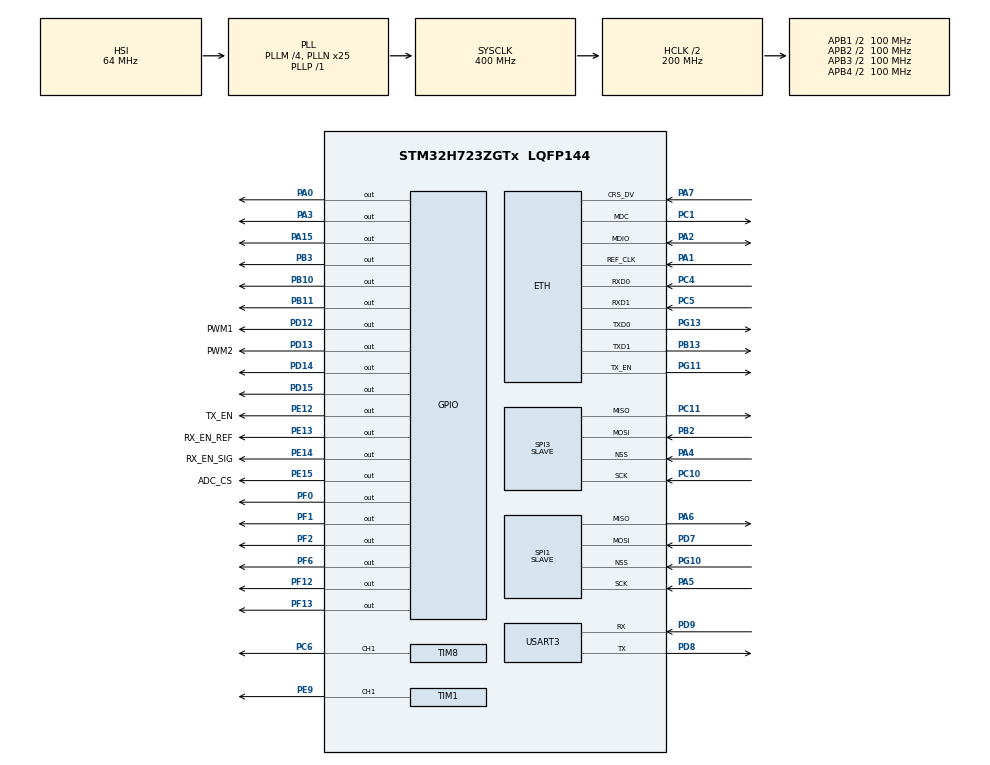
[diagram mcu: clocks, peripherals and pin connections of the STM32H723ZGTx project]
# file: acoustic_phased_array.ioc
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CORTEX_M7.AccessPermission_S-Cortex_Memory_Protection_Unit_Region1_Settings_S=MPU_REGION_FULL_ACCESS
CORTEX_M7.BaseAddress_S-Cortex_Memory_Protection_Unit_Region1_Settings_S=0x30000000
CORTEX_M7.CPU_DCache=Enabled
CORTEX_M7.CPU_ICache=Enabled
CORTEX_M7.DisableExec_S-Cortex_Memory_Protection_Unit_Region1_Settings_S=MPU_INSTRUCTION_ACCESS_DISABLE
CORTEX_M7.Enable_S-Cortex_Memory_Protection_Unit_Region1_Settings_S=MPU_REGION_ENABLE
CORTEX_M7.IsShareable_S-Cortex_Memory_Protection_Unit_Region1_Settings_S=MPU_ACCESS_SHAREABLE
CORTEX_M7.Size_S-Cortex_Memory_Protection_Unit_Region1_Settings_S=MPU_REGION_SIZE_32KB
CORTEX_M7.TypeExtField_S-Cortex_Memory_Protection_Unit_Region1_Settings_S=MPU_TEX_LEVEL1
CORTEX_M7.default_mode_Activation=1
Dma.Request0=SPI1_RX
Dma.Request1=SPI1_TX
Dma.Request2=SPI3_RX
Dma.Request3=SPI3_TX
Dma.SPI1_RX.0.Direction=DMA_PERIPH_TO_MEMORY
Dma.SPI1_RX.0.EventEnable=DISABLE
Dma.SPI1_RX.0.FIFOMode=DMA_FIFOMODE_DISABLE
Dma.SPI1_RX.0.Instance=DMA1_Stream0
Dma.SPI1_RX.0.MemDataAlignment=DMA_MDATAALIGN_WORD
Dma.SPI1_RX.0.MemInc=DMA_MINC_ENABLE
Dma.SPI1_RX.0.Mode=DMA_CIRCULAR
Dma.SPI1_RX.0.PeriphDataAlignment=DMA_PDATAALIGN_WORD
Dma.SPI1_RX.0.PeriphInc=DMA_PINC_DISABLE
Dma.SPI1_RX.0.Polarity=HAL_DMAMUX_REQ_GEN_RISING
Dma.SPI1_RX.0.Priority=DMA_PRIORITY_VERY_HIGH
Dma.SPI1_RX.0.RequestNumber=1
Dma.SPI1_RX.0.SignalID=NONE
Dma.SPI1_RX.0.SyncEnable=DISABLE
Dma.SPI1_RX.0.SyncPolarity=HAL_DMAMUX_SYNC_NO_EVENT
Dma.SPI1_RX.0.SyncRequestNumber=1
Dma.SPI1_RX.0.SyncSignalID=NONE
Dma.SPI1_TX.1.Direction=DMA_MEMORY_TO_PERIPH
Dma.SPI1_TX.1.EventEnable=DISABLE
Dma.SPI1_TX.1.FIFOMode=DMA_FIFOMODE_DISABLE
Dma.SPI1_TX.1.Instance=DMA1_Stream1
Dma.SPI1_TX.1.MemDataAlignment=DMA_MDATAALIGN_WORD
Dma.SPI1_TX.1.MemInc=DMA_MINC_ENABLE
Dma.SPI1_TX.1.Mode=DMA_CIRCULAR
Dma.SPI1_TX.1.PeriphDataAlignment=DMA_PDATAALIGN_WORD
Dma.SPI1_TX.1.PeriphInc=DMA_PINC_DISABLE
Dma.SPI1_TX.1.Polarity=HAL_DMAMUX_REQ_GEN_RISING
Dma.SPI1_TX.1.Priority=DMA_PRIORITY_VERY_HIGH
Dma.SPI1_TX.1.RequestNumber=1
Dma.SPI1_TX.1.SignalID=NONE
Dma.SPI1_TX.1.SyncEnable=DISABLE
Dma.SPI1_TX.1.SyncPolarity=HAL_DMAMUX_SYNC_NO_EVENT
Dma.SPI1_TX.1.SyncRequestNumber=1
Dma.SPI1_TX.1.SyncSignalID=NONE
Dma.SPI3_RX.2.Direction=DMA_PERIPH_TO_MEMORY
Dma.SPI3_RX.2.EventEnable=DISABLE
Dma.SPI3_RX.2.FIFOMode=DMA_FIFOMODE_DISABLE
Dma.SPI3_RX.2.Instance=DMA2_Stream0
Dma.SPI3_RX.2.MemDataAlignment=DMA_MDATAALIGN_WORD
Dma.SPI3_RX.2.MemInc=DMA_MINC_ENABLE
Dma.SPI3_RX.2.Mode=DMA_CIRCULAR
Dma.SPI3_RX.2.PeriphDataAlignment=DMA_PDATAALIGN_WORD
Dma.SPI3_RX.2.PeriphInc=DMA_PINC_DISABLE
Dma.SPI3_RX.2.Polarity=HAL_DMAMUX_REQ_GEN_RISING
Dma.SPI3_RX.2.Priority=DMA_PRIORITY_VERY_HIGH
Dma.SPI3_RX.2.RequestNumber=1
Dma.SPI3_RX.2.SignalID=NONE
Dma.SPI3_RX.2.SyncEnable=DISABLE
Dma.SPI3_RX.2.SyncPolarity=HAL_DMAMUX_SYNC_NO_EVENT
Dma.SPI3_RX.2.SyncRequestNumber=1
Dma.SPI3_RX.2.SyncSignalID=NONE
Dma.SPI3_TX.3.Direction=DMA_MEMORY_TO_PERIPH
Dma.SPI3_TX.3.EventEnable=DISABLE
Dma.SPI3_TX.3.FIFOMode=DMA_FIFOMODE_DISABLE
Dma.SPI3_TX.3.Instance=DMA2_Stream1
Dma.SPI3_TX.3.MemDataAlignment=DMA_MDATAALIGN_WORD
Dma.SPI3_TX.3.MemInc=DMA_MINC_ENABLE
Dma.SPI3_TX.3.Mode=DMA_CIRCULAR
Dma.SPI3_TX.3.PeriphDataAlignment=DMA_PDATAALIGN_WORD
Dma.SPI3_TX.3.PeriphInc=DMA_PINC_DISABLE
Dma.SPI3_TX.3.Polarity=HAL_DMAMUX_REQ_GEN_RISING
Dma.SPI3_TX.3.Priority=DMA_PRIORITY_VERY_HIGH
Dma.SPI3_TX.3.RequestNumber=1
Dma.SPI3_TX.3.SignalID=NONE
Dma.SPI3_TX.3.SyncEnable=DISABLE
Dma.SPI3_TX.3.SyncPolarity=HAL_DMAMUX_SYNC_NO_EVENT
Dma.SPI3_TX.3.SyncRequestNumber=1
Dma.SPI3_TX.3.SyncSignalID=NONE
ETH.MediaInterface=HAL_ETH_RMII_MODE
ETH.RxBuffLen=1524
LWIP.BSP.number=1
LWIP.ETH_RX_BUFFER_CNT=7
LWIP.GATEWAY_ADDRESS=192.168.000.001
LWIP.IP_ADDRESS=192.168.000.123
LWIP.LWIP_DHCP=0
LWIP.MEM_SIZE=5*1024
LWIP.NETMASK_ADDRESS=255.255.255.000
LWIP.Version=v2.1.2_Cube
LWIP0.BSP.STBoard=false
LWIP0.BSP.api=BSP_COMPONENT_DRIVER
LWIP0.BSP.component=LAN8742
LWIP0.BSP.instance=LAN8742
LWIP0.BSP.name=Driver_PHY
LWIP0.BSP.semaphore=S_LAN8742
LWIP0.BSP.solution=LAN8742
Mcu.Family=STM32H7
Mcu.Name=STM32H723ZGTx
Mcu.Package=LQFP144
NVIC.DMA1_Stream0_IRQn=true\:0\:0\:false\:false\:true\:false\:true\:true
NVIC.DMA1_Stream1_IRQn=true\:0\:0\:false\:false\:true\:false\:true\:true
NVIC.DMA2_Stream0_IRQn=true\:0\:0\:false\:false\:true\:false\:true\:true
NVIC.DMA2_Stream1_IRQn=true\:0\:0\:false\:false\:true\:false\:true\:true
NVIC.ETH_IRQn=true\:0\:0\:false\:false\:true\:true\:true\:true
NVIC.PriorityGroup=NVIC_PRIORITYGROUP_4
NVIC.SPI1_IRQn=true\:0\:0\:false\:false\:true\:true\:true\:true
NVIC.SPI3_IRQn=true\:0\:0\:false\:false\:true\:false\:true\:true
NVIC.TIM1_UP_IRQn=true\:0\:0\:false\:false\:true\:true\:true\:true
NVIC.TIM3_IRQn=true\:0\:0\:false\:false\:true\:true\:true\:true
PA0.GPIO_Speed=GPIO_SPEED_FREQ_VERY_HIGH
PA0.Signal=GPIO_Output
PA1.Mode=RMII
PA1.Signal=ETH_REF_CLK
PA13(JTMS/SWDIO).Mode=Serial_Wire
PA13(JTMS/SWDIO).Signal=DEBUG_JTMS-SWDIO
PA14(JTCK/SWCLK).Mode=Serial_Wire
PA14(JTCK/SWCLK).Signal=DEBUG_JTCK-SWCLK
PA15(JTDI).Signal=GPIO_Output
PA2.Mode=RMII
PA2.Signal=ETH_MDIO
PA3.GPIO_Speed=GPIO_SPEED_FREQ_VERY_HIGH
PA3.Signal=GPIO_Output
PA4.GPIO_Speed=GPIO_SPEED_FREQ_LOW
PA4.Mode=NSS_Signal_Hard_Input
PA4.Signal=SPI3_NSS
PA5.GPIO_Speed=GPIO_SPEED_FREQ_VERY_HIGH
PA5.Mode=Full_Duplex_Slave
PA5.Signal=SPI1_SCK
PA6.GPIO_Speed=GPIO_SPEED_FREQ_VERY_HIGH
PA6.Mode=Full_Duplex_Slave
PA6.Signal=SPI1_MISO
PA7.Mode=RMII
PA7.Signal=ETH_CRS_DV
PB10.GPIO_Speed=GPIO_SPEED_FREQ_VERY_HIGH
PB10.Signal=GPIO_Output
PB11.GPIO_Speed=GPIO_SPEED_FREQ_VERY_HIGH
PB11.Signal=GPIO_Output
PB13.Mode=RMII
PB13.Signal=ETH_TXD1
PB2.GPIO_Speed=GPIO_SPEED_FREQ_VERY_HIGH
PB2.Mode=Full_Duplex_Slave
PB2.Signal=SPI3_MOSI
PB3(JTDO/TRACESWO).GPIO_Speed=GPIO_SPEED_FREQ_VERY_HIGH
PB3(JTDO/TRACESWO).Signal=GPIO_Output
PC1.Mode=RMII
PC1.Signal=ETH_MDC
PC10.GPIO_Speed=GPIO_SPEED_FREQ_VERY_HIGH
PC10.Mode=Full_Duplex_Slave
PC10.Signal=SPI3_SCK
PC11.GPIO_Speed=GPIO_SPEED_FREQ_VERY_HIGH
PC11.Mode=Full_Duplex_Slave
PC11.Signal=SPI3_MISO
PC4.Mode=RMII
PC4.Signal=ETH_RXD0
PC5.Mode=RMII
PC5.Signal=ETH_RXD1
PC6.GPIO_Speed=GPIO_SPEED_FREQ_VERY_HIGH
PC6.Signal=S_TIM8_CH1
PD12.GPIO_Label=PWM1
PD12.GPIO_Speed=GPIO_SPEED_FREQ_VERY_HIGH
PD12.Signal=GPIO_Output
PD13.GPIO_Label=PWM2
PD13.GPIO_Speed=GPIO_SPEED_FREQ_VERY_HIGH
PD13.Signal=GPIO_Output
PD14.GPIO_Speed=GPIO_SPEED_FREQ_VERY_HIGH
PD14.Signal=GPIO_Output
PD15.GPIO_Speed=GPIO_SPEED_FREQ_VERY_HIGH
PD15.Signal=GPIO_Output
PD7.GPIO_Speed=GPIO_SPEED_FREQ_VERY_HIGH
PD7.Mode=Full_Duplex_Slave
PD7.Signal=SPI1_MOSI
PD8.Mode=Asynchronous
PD8.Signal=USART3_TX
PD9.Mode=Asynchronous
PD9.Signal=USART3_RX
PE12.GPIO_Label=TX_EN
PE12.Signal=GPIO_Output
PE13.GPIO_Label=RX_EN_REF
PE13.Signal=GPIO_Output
PE14.GPIO_Label=RX_EN_SIG
PE14.Signal=GPIO_Output
PE15.GPIO_Label=ADC_CS
PE15.Signal=GPIO_Output
PE9.GPIO_Speed=GPIO_SPEED_FREQ_VERY_HIGH
PE9.Signal=S_TIM1_CH1
PF0.GPIO_Speed=GPIO_SPEED_FREQ_VERY_HIGH
PF0.Signal=GPIO_Output
PF1.GPIO_Speed=GPIO_SPEED_FREQ_VERY_HIGH
PF1.Signal=GPIO_Output
PF12.GPIO_Speed=GPIO_SPEED_FREQ_VERY_HIGH
PF12.Signal=GPIO_Output
PF13.GPIO_Speed=GPIO_SPEED_FREQ_VERY_HIGH
PF13.Signal=GPIO_Output
PF2.GPIO_Speed=GPIO_SPEED_FREQ_VERY_HIGH
PF2.Signal=GPIO_Output
PF6.GPIO_Speed=GPIO_SPEED_FREQ_VERY_HIGH
PF6.Signal=GPIO_Output
PG10.Mode=NSS_Signal_Hard_Input
PG10.Signal=SPI1_NSS
PG11.Mode=RMII
PG11.Signal=ETH_TX_EN
PG13.Mode=RMII
PG13.Signal=ETH_TXD0
ProjectManager.HeapSize=0x800
ProjectManager.StackSize=0x1000
ProjectManager.TargetToolchain=CMake
RCC.ADCFreq_Value=96000000
RCC.APB1Freq_Value=100000000
RCC.APB2Freq_Value=100000000
RCC.APB3Freq_Value=100000000
RCC.APB4Freq_Value=100000000
RCC.CortexFreq_Value=400000000
RCC.D1PPRE=RCC_APB3_DIV2
RCC.D2PPRE1=RCC_APB1_DIV2
RCC.D2PPRE2=RCC_APB2_DIV2
RCC.D3PPRE=RCC_APB4_DIV2
RCC.DIVM1=4
RCC.DIVM2=4
RCC.DIVN1=25
RCC.DIVN2=12
RCC.DIVP1=1
RCC.DIVQ1=3
RCC.HCLKFreq_Value=200000000
RCC.HPRE=RCC_HCLK_DIV2
RCC.PLL2FRACN=0
RCC.PLL3FRACN=0
RCC.PLLFRACN=0
RCC.SYSCLKFreq_VALUE=400000000
RCC.SYSCLKSource=RCC_SYSCLKSOURCE_PLLCLK
RCC.USBFreq_Value=133333333.33333333
SH.S_TIM1_CH1.0=TIM1_CH1,PWM Generation1 CH1
SH.S_TIM8_CH1.0=TIM8_CH1,PWM Generation1 CH1
SPI1.CLKPhase=SPI_PHASE_2EDGE
SPI1.CLKPolarity=SPI_POLARITY_LOW
SPI1.DataSize=SPI_DATASIZE_20BIT
SPI1.Direction=SPI_DIRECTION_2LINES
SPI1.Mode=SPI_MODE_SLAVE
SPI1.VirtualNSS=VM_NSSHARD
SPI1.VirtualType=VM_SLAVE
SPI3.CLKPhase=SPI_PHASE_2EDGE
SPI3.DataSize=SPI_DATASIZE_20BIT
SPI3.Direction=SPI_DIRECTION_2LINES
SPI3.Mode=SPI_MODE_SLAVE
SPI3.VirtualNSS=VM_NSSHARD
SPI3.VirtualType=VM_SLAVE
TIM1.Channel-PWM\ Generation1\ CH1=TIM_CHANNEL_1
TIM1.Period=199
TIM1.Prescaler=0
TIM1.TIM_MasterOutputTrigger=TIM_TRGO_OC1
TIM16.Period=255
TIM16.Prescaler=3
TIM23.Period=255
TIM23.Prescaler=3
TIM3.Period=500
TIM3.Prescaler=0
TIM4.Period=255
TIM4.Prescaler=3
TIM8.Channel-PWM\ Generation1\ CH1=TIM_CHANNEL_1
TIM8.OCPolarity_1=TIM_OCPOLARITY_HIGH
TIM8.Period=9
TIM8.Prescaler=0
TIM8.TIM_MasterOutputTrigger=TIM_TRGO_UPDATE
USART3.VirtualMode-Asynchronous=VM_ASYNC
VP_LWIP_VS_Enabled.Mode=Enabled
VP_MEMORYMAP_VS_MEMORYMAP.Mode=CurAppReg
VP_TIM16_VS_ClockSourceINT.Mode=Enable_Timer
VP_TIM23_VS_ClockSourceINT.Mode=Internal
VP_TIM3_VS_ClockSourceINT.Mode=Internal
VP_TIM4_VS_ClockSourceINT.Mode=Internal
VP_TIM8_VS_ClockSourceINT.Mode=Internal
VP_TIM8_VS_ClockSourceITR.Mode=TriggerSource_ITR0
VP_TIM8_VS_ControllerModeCombinedResetTrigger.Mode=Combined_Reset_Trigger_Mode
board=custom

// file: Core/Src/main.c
/* USER CODE BEGIN Header */
/**
  ******************************************************************************
  * @file           : main.c
  * @brief          : Main program body
  ******************************************************************************
  * @attention
  *
  * Copyright (c) 2026 STMicroelectronics.
  * All rights reserved.
  *
  * This software is licensed under terms that can be found in the LICENSE file
  * in the root directory of this software component.
  * If no LICENSE file comes with this software, it is provided AS-IS.
  *
  ******************************************************************************
  */
/* USER CODE END Header */
#include "main.h"
#include "lwip.h"

/* USER CODE BEGIN Includes */
#include <stdint.h>
#include <string.h>
#include <sys/types.h>
#include "ethernetif.h"
#include "lwip.h"
#include "stm32h723xx.h"
#include "stm32h7xx_hal.h"
//#include "tcpClientRAW.h"
#include "stm32h7xx_hal_cortex.h"
#include "stm32h7xx_hal_uart.h"
#include "udpServerRAW.h"
#include "stm32h7xx_hal_gpio.h"
#include "stm32h7xx_hal_spi.h"
#include "stm32h7xx_hal_tim.h"
#include "timeouts.h"

#include "tx.h"

extern struct netif gnetif;

/* USER CODE END Includes */

SPI_HandleTypeDef hspi1;
SPI_HandleTypeDef hspi3;
DMA_HandleTypeDef hdma_spi1_rx;
DMA_HandleTypeDef hdma_spi1_tx;
DMA_HandleTypeDef hdma_spi3_rx;
DMA_HandleTypeDef hdma_spi3_tx;

TIM_HandleTypeDef htim1;
TIM_HandleTypeDef htim3;
TIM_HandleTypeDef htim4;
TIM_HandleTypeDef htim8;
TIM_HandleTypeDef htim16;
TIM_HandleTypeDef htim23;

UART_HandleTypeDef huart3;

void SystemClock_Config(void);
static void MPU_Config(void);
static void MX_GPIO_Init(void);
static void MX_DMA_Init(void);
static void MX_TIM8_Init(void);
static void MX_TIM3_Init(void);
static void MX_SPI1_Init(void);
static void MX_TIM1_Init(void);
static void MX_USART3_UART_Init(void);
static void MX_SPI3_Init(void);
static void MX_TIM4_Init(void);
static void MX_TIM23_Init(void);
static void MX_TIM16_Init(void);

/* USER CODE BEGIN 0 */
#define ADC_CONVERTED_DATA_BUFFER_SIZE 640

extern struct netif gnetif;

/* USER CODE END PD */
/* USER CODE BEGIN PV */
//uint16_t uhADCxConvertedData[ADC_CONVERTED_DATA_BUFFER_SIZE] __attribute__((at(0x24000000))); // Place buffer in non-cacheable SRAM
//uint16_t uhADCxConvertedData[ADC_CONVERTED_DATA_BUFFER_SIZE]; // Place buffer in non-cacheable SRAM
__attribute__((section(".adcarray"))) uint32_t uhADCxConvertedData[ADC_CONVERTED_DATA_BUFFER_SIZE];
__attribute__((section(".adcarray"))) uint32_t adc1_rx_data[ADC_CONVERTED_DATA_BUFFER_SIZE];
__attribute__((section(".adcarray"))) uint32_t adc2_rx_data[ADC_CONVERTED_DATA_BUFFER_SIZE];

/* USER CODE END PV */
/* USER CODE BEGIN PFP */

volatile uint8_t adc1_first_half_ready = 0;
volatile uint8_t adc1_second_half_ready = 0;

volatile uint8_t adc2_first_half_ready = 0;
volatile uint8_t adc2_second_half_ready = 0;

volatile int16_t converted_data[ADC_CONVERTED_DATA_BUFFER_SIZE];
volatile int16_t converted_data2[ADC_CONVERTED_DATA_BUFFER_SIZE];

volatile uint16_t converted_data_index = 0;

volatile uint8_t adc1_configured = 0;

volatile uint8_t packet_ID = 0;

uint8_t a1_first = 0;
int16_t adc_data[ADC_CONVERTED_DATA_BUFFER_SIZE + 1]; // +1 for packet ID at the start

volatile uint8_t PWM_buffer[1000];
volatile uint16_t PWM_index = 0;

volatile uint8_t time_int;

uint8_t pin_state[256];

void HAL_SPI_TxRxHalfCpltCallback(SPI_HandleTypeDef *hspi){
  if(hspi->Instance == SPI1) {
    packet_ID++;
    // if(adc1_first_half_ready ==1){
    //   HAL_UART_Transmit(&huart3, (uint8_t*)"Error: ADC1 first half ready again before second half was processed\n", 75, HAL_MAX_DELAY);
    // }
    if(!adc1_configured){
      adc1_configured = 1;
      // uint32_t channel_select[8] = { 0x4000 << 4, 0x4000 << 4, 0x8000 << 4, 0x8000 << 4, 0xC000 << 4, 0xC000 << 4, 0x0000 << 4, 0x0000 << 4};
      // for(int i = 0; i < 10; i++){
      //   uhADCxConvertedData[i] = channel_select[i % 8];
      // }
    }
    adc1_first_half_ready = 1;
  }
  if(hspi->Instance == SPI3) {
    //HAL_SPI_Transmit_DMA(&hspi3, (uint8_t*)uhADCxConvertedData, 21);
    adc2_first_half_ready = 1;
  }
}

void HAL_SPI_TxRxCpltCallback(SPI_HandleTypeDef *hspi){
    if(hspi->Instance == SPI1) {
        packet_ID++;
        //HAL_SPI_TransmitReceive_DMA(&hspi1, (uint8_t*)uhADCxConvertedData, (uint8_t*)adc1_rx_data, 15000);
        adc1_second_half_ready = 1;
    }
    if(hspi->Instance == SPI3) {
        //HAL_SPI_Transmit_DMA(&hspi3, (uint8_t*)uhADCxConvertedData, 21);
        adc2_second_half_ready = 1;
    }
}

void ADC_handle(void);

void rx_on(){
  HAL_GPIO_WritePin(TX_EN_GPIO_Port, TX_EN_Pin, GPIO_PIN_RESET);

  HAL_Delay(100);

  HAL_GPIO_WritePin(RX_EN_SIG_GPIO_Port, RX_EN_SIG_Pin, GPIO_PIN_SET);
  HAL_GPIO_WritePin(RX_EN_REF_GPIO_Port, RX_EN_REF_Pin, GPIO_PIN_SET);
}

/* USER CODE END 0 */

int main(void)
{

  /* USER CODE BEGIN 1 */
  // uint32_t pseudodelay = 0;
  // while(pseudodelay++ < 0xFFFFFF)
  // {
  //   __NOP();
  // }
  /* USER CODE END 1 */

  /* MPU Configuration--------------------------------------------------------*/
    MPU_Config();

  /* Enable the CPU Cache */

  /* Enable I-Cache---------------------------------------------------------*/
  SCB_EnableICache();

  /* Enable D-Cache---------------------------------------------------------*/
  SCB_EnableDCache();

  /* MCU Configuration--------------------------------------------------------*/

  /* Reset of all peripherals, Initializes the Flash interface and the Systick. */
  HAL_Init();

  /* Configure the system clock */
  SystemClock_Config();

  /* Initialize all configured peripherals */
  MX_GPIO_Init();
  MX_DMA_Init();
  MX_TIM8_Init();
  MX_LWIP_Init();
  MX_TIM3_Init();
  MX_SPI1_Init();
  MX_TIM1_Init();
  MX_USART3_UART_Init();
  MX_SPI3_Init();
  MX_TIM4_Init();
  MX_TIM23_Init();
  MX_TIM16_Init();
  /* USER CODE BEGIN 2 */
  // filepath: Core/Src/main.c
  // Enable NVIC for TIM8 update interrupt

  MPU_Region_InitTypeDef MPU_InitStruct = {0};
  MPU_InitStruct.Enable = MPU_REGION_ENABLE;
  MPU_InitStruct.Number = MPU_REGION_NUMBER0;
  MPU_InitStruct.BaseAddress = (uint32_t)uhADCxConvertedData;
  MPU_InitStruct.Size = MPU_REGION_SIZE_16KB;  // Adjust size as needed (64*2=128B, so 256B region)
  MPU_InitStruct.SubRegionDisable = 0x0;
  MPU_InitStruct.TypeExtField = MPU_TEX_LEVEL0;
  MPU_InitStruct.AccessPermission = MPU_REGION_FULL_ACCESS;
  MPU_InitStruct.DisableExec = MPU_INSTRUCTION_ACCESS_ENABLE;
  MPU_InitStruct.IsShareable = MPU_ACCESS_NOT_SHAREABLE;
  MPU_InitStruct.IsCacheable = MPU_ACCESS_NOT_CACHEABLE;
  MPU_InitStruct.IsBufferable = MPU_ACCESS_BUFFERABLE;
  HAL_MPU_ConfigRegion(&MPU_InitStruct);
  HAL_MPU_Enable(MPU_PRIVILEGED_DEFAULT);
  HAL_Delay(1000);

  udpClient_connect();
  HAL_Delay(1000);
  float delays[16];
  for(int i = 0; i < 16; i++){
    delays[i] = 0;
  }
  transmit(100, delays);
  rx_on();

//  HAL_TIM_PWM_Start(&htim4, TIM_CHANNEL_1);

  uint32_t channel_select[8] = { 0x4000 << 4, 0x4000 << 4, 0x8000 << 4, 0x8000 << 4, 0xC000 << 4, 0xC000 << 4, 0x0000 << 4, 0x0000 << 4};

 for(int i = 0; i < ADC_CONVERTED_DATA_BUFFER_SIZE; i ++){
    uhADCxConvertedData[i] = channel_select[i % 8];
  }

  //stuff some data with 0 to prevent garbage when clocks stabilize, then send configs
  uhADCxConvertedData[0] = 0;
  uhADCxConvertedData[1] = 0;
  uhADCxConvertedData[2] = 0;
  uhADCxConvertedData[3] = 0;
  uhADCxConvertedData[4] = 0x1062 <<4;
  uhADCxConvertedData[5] = 0x3FF << 4;
  uhADCxConvertedData[6] = 0x1005 << 4;
  uhADCxConvertedData[7] = 0x3FF << 4;
  uhADCxConvertedData[8] = 0x1040 << 4;

  HAL_SPI_TransmitReceive_DMA(&hspi1, (uint8_t*)&uhADCxConvertedData, (uint8_t*)adc1_rx_data, ADC_CONVERTED_DATA_BUFFER_SIZE);
  HAL_SPI_TransmitReceive_DMA(&hspi3, (uint8_t*)&uhADCxConvertedData, (uint8_t*)adc2_rx_data, ADC_CONVERTED_DATA_BUFFER_SIZE);

  HAL_Delay(100);

  HAL_TIM_PWM_Start(&htim1, TIM_CHANNEL_1);
  TIM1->CCR1 = 10;
  HAL_TIM_PWM_Start(&htim8, TIM_CHANNEL_1);
  TIM8->CCR1 = 5;
  uint8_t settling_delay = 0;
  while(settling_delay < 200){
    if(adc1_first_half_ready){
      adc1_first_half_ready = 0;
      settling_delay++;
    }
  }

  if(!(adc1_rx_data[0] & (1 << 18))){
    a1_first = 1;
    uint32_t channel_select[8] = { 0x4000 << 4, 0x4000 << 4, 0x8000 << 4, 0x8000 << 4, 0xC000 << 4, 0xC000 << 4, 0x0000 << 4, 0x0000 << 4};

    for(int i = 0; i < ADC_CONVERTED_DATA_BUFFER_SIZE; i ++){
        uhADCxConvertedData[i] = channel_select[i % 8];
    }
  }else{
    a1_first = 0;
    uint32_t channel_select[8] = {0x4000 << 4, 0x8000 << 4, 0x8000 << 4, 0xC000 << 4, 0xC000 << 4, 0x0000 << 4, 0x0000 << 4, 0x4000 << 4};

    for(int i = 0; i < ADC_CONVERTED_DATA_BUFFER_SIZE; i ++){
        uhADCxConvertedData[i] = channel_select[i % 8];
    }

  }

  HAL_Delay(100);

  /* USER CODE END 2 */

  /* Infinite loop */
  /* USER CODE BEGIN WHILE */
  while (1)
  {

    ADC_handle();
    MX_LWIP_Process();
    float delays[16];
    if(check_for_tx(delays) != -1){

      // // // Stop DMA streams
      // DMA1_Stream0->CR &= ~DMA_SxCR_EN;
      // DMA1_Stream1->CR &= ~DMA_SxCR_EN;
      // DMA2_Stream0->CR &= ~DMA_SxCR_EN;
      // DMA2_Stream1->CR &= ~DMA_SxCR_EN;

      // // Wait for them to actually stop
      // while (DMA1_Stream0->CR & DMA_SxCR_EN);
      // while (DMA1_Stream1->CR & DMA_SxCR_EN);
      // while (DMA2_Stream0->CR & DMA_SxCR_EN);
      // while (DMA2_Stream1->CR & DMA_SxCR_EN);

      HAL_SPI_Abort(&hspi1);
      HAL_SPI_Abort(&hspi3);

      transmit(100, delays);
      // MX_TIM3_Init();

      // // clear flags and restart DMA
      adc1_first_half_ready = 0;
      adc1_second_half_ready = 0;
      adc2_first_half_ready = 0;
      adc2_second_half_ready = 0;
      HAL_SPI_TransmitReceive_DMA(&hspi1, (uint8_t*)uhADCxConvertedData, (uint8_t*)adc1_rx_data, ADC_CONVERTED_DATA_BUFFER_SIZE);
      HAL_SPI_TransmitReceive_DMA(&hspi3, (uint8_t*)uhADCxConvertedData, (uint8_t*)adc2_rx_data, ADC_CONVERTED_DATA_BUFFER_SIZE);
      rx_on();
    }

    /* USER CODE END WHILE */

  }
}

void SystemClock_Config(void)
{
  RCC_OscInitTypeDef RCC_OscInitStruct = {0};
  RCC_ClkInitTypeDef RCC_ClkInitStruct = {0};

  /** Supply configuration update enable
  */
  HAL_PWREx_ConfigSupply(PWR_LDO_SUPPLY);

  /** Configure the main internal regulator output voltage
  */
  __HAL_PWR_VOLTAGESCALING_CONFIG(PWR_REGULATOR_VOLTAGE_SCALE1);

  while(!__HAL_PWR_GET_FLAG(PWR_FLAG_VOSRDY)) {}

  /** Initializes the RCC Oscillators according to the specified parameters
  * in the RCC_OscInitTypeDef structure.
  */
  RCC_OscInitStruct.OscillatorType = RCC_OSCILLATORTYPE_HSI;
  RCC_OscInitStruct.HSIState = RCC_HSI_DIV1;
  RCC_OscInitStruct.HSICalibrationValue = 64;
  RCC_OscInitStruct.PLL.PLLState = RCC_PLL_ON;
  RCC_OscInitStruct.PLL.PLLSource = RCC_PLLSOURCE_HSI;
  RCC_OscInitStruct.PLL.PLLM = 4;
  RCC_OscInitStruct.PLL.PLLN = 25;
  RCC_OscInitStruct.PLL.PLLP = 1;
  RCC_OscInitStruct.PLL.PLLQ = 3;
  RCC_OscInitStruct.PLL.PLLR = 2;
  RCC_OscInitStruct.PLL.PLLRGE = RCC_PLL1VCIRANGE_3;
  RCC_OscInitStruct.PLL.PLLVCOSEL = RCC_PLL1VCOWIDE;
  RCC_OscInitStruct.PLL.PLLFRACN = 0;
  if (HAL_RCC_OscConfig(&RCC_OscInitStruct) != HAL_OK)
  {
    Error_Handler();
  }

  /** Initializes the CPU, AHB and APB buses clocks
  */
  RCC_ClkInitStruct.ClockType = RCC_CLOCKTYPE_HCLK|RCC_CLOCKTYPE_SYSCLK
                              |RCC_CLOCKTYPE_PCLK1|RCC_CLOCKTYPE_PCLK2
                              |RCC_CLOCKTYPE_D3PCLK1|RCC_CLOCKTYPE_D1PCLK1;
  RCC_ClkInitStruct.SYSCLKSource = RCC_SYSCLKSOURCE_PLLCLK;
  RCC_ClkInitStruct.SYSCLKDivider = RCC_SYSCLK_DIV1;
  RCC_ClkInitStruct.AHBCLKDivider = RCC_HCLK_DIV2;
  RCC_ClkInitStruct.APB3CLKDivider = RCC_APB3_DIV2;
  RCC_ClkInitStruct.APB1CLKDivider = RCC_APB1_DIV2;
  RCC_ClkInitStruct.APB2CLKDivider = RCC_APB2_DIV2;
  RCC_ClkInitStruct.APB4CLKDivider = RCC_APB4_DIV2;

  if (HAL_RCC_ClockConfig(&RCC_ClkInitStruct, FLASH_LATENCY_2) != HAL_OK)
  {
    Error_Handler();
  }
}

static void MX_SPI1_Init(void)
{

  /* SPI1 parameter configuration*/
  hspi1.Instance = SPI1;
  hspi1.Init.Mode = SPI_MODE_SLAVE;
  hspi1.Init.Direction = SPI_DIRECTION_2LINES;
  hspi1.Init.DataSize = SPI_DATASIZE_20BIT;
  hspi1.Init.CLKPolarity = SPI_POLARITY_LOW;
  hspi1.Init.CLKPhase = SPI_PHASE_2EDGE;
  hspi1.Init.NSS = SPI_NSS_HARD_INPUT;
  hspi1.Init.FirstBit = SPI_FIRSTBIT_MSB;
  hspi1.Init.TIMode = SPI_TIMODE_DISABLE;
  hspi1.Init.CRCCalculation = SPI_CRCCALCULATION_DISABLE;
  hspi1.Init.CRCPolynomial = 0x0;
  hspi1.Init.NSSPMode = SPI_NSS_PULSE_DISABLE;
  hspi1.Init.NSSPolarity = SPI_NSS_POLARITY_LOW;
  hspi1.Init.FifoThreshold = SPI_FIFO_THRESHOLD_01DATA;
  hspi1.Init.TxCRCInitializationPattern = SPI_CRC_INITIALIZATION_ALL_ZERO_PATTERN;
  hspi1.Init.RxCRCInitializationPattern = SPI_CRC_INITIALIZATION_ALL_ZERO_PATTERN;
  hspi1.Init.MasterSSIdleness = SPI_MASTER_SS_IDLENESS_00CYCLE;
  hspi1.Init.MasterInterDataIdleness = SPI_MASTER_INTERDATA_IDLENESS_00CYCLE;
  hspi1.Init.MasterReceiverAutoSusp = SPI_MASTER_RX_AUTOSUSP_DISABLE;
  hspi1.Init.MasterKeepIOState = SPI_MASTER_KEEP_IO_STATE_DISABLE;
  hspi1.Init.IOSwap = SPI_IO_SWAP_DISABLE;
  if (HAL_SPI_Init(&hspi1) != HAL_OK)
  {
    Error_Handler();
  }

}

static void MX_SPI3_Init(void)
{

  /* SPI3 parameter configuration*/
  hspi3.Instance = SPI3;
  hspi3.Init.Mode = SPI_MODE_SLAVE;
  hspi3.Init.Direction = SPI_DIRECTION_2LINES;
  hspi3.Init.DataSize = SPI_DATASIZE_20BIT;
  hspi3.Init.CLKPolarity = SPI_POLARITY_LOW;
  hspi3.Init.CLKPhase = SPI_PHASE_2EDGE;
  hspi3.Init.NSS = SPI_NSS_HARD_INPUT;
  hspi3.Init.FirstBit = SPI_FIRSTBIT_MSB;
  hspi3.Init.TIMode = SPI_TIMODE_DISABLE;
  hspi3.Init.CRCCalculation = SPI_CRCCALCULATION_DISABLE;
  hspi3.Init.CRCPolynomial = 0x0;
  hspi3.Init.NSSPMode = SPI_NSS_PULSE_DISABLE;
  hspi3.Init.NSSPolarity = SPI_NSS_POLARITY_LOW;
  hspi3.Init.FifoThreshold = SPI_FIFO_THRESHOLD_01DATA;
  hspi3.Init.TxCRCInitializationPattern = SPI_CRC_INITIALIZATION_ALL_ZERO_PATTERN;
  hspi3.Init.RxCRCInitializationPattern = SPI_CRC_INITIALIZATION_ALL_ZERO_PATTERN;
  hspi3.Init.MasterSSIdleness = SPI_MASTER_SS_IDLENESS_00CYCLE;
  hspi3.Init.MasterInterDataIdleness = SPI_MASTER_INTERDATA_IDLENESS_00CYCLE;
  hspi3.Init.MasterReceiverAutoSusp = SPI_MASTER_RX_AUTOSUSP_DISABLE;
  hspi3.Init.MasterKeepIOState = SPI_MASTER_KEEP_IO_STATE_DISABLE;
  hspi3.Init.IOSwap = SPI_IO_SWAP_DISABLE;
  if (HAL_SPI_Init(&hspi3) != HAL_OK)
  {
    Error_Handler();
  }

}

static void MX_TIM1_Init(void)
{

  TIM_MasterConfigTypeDef sMasterConfig = {0};
  TIM_OC_InitTypeDef sConfigOC = {0};
  TIM_BreakDeadTimeConfigTypeDef sBreakDeadTimeConfig = {0};

  htim1.Instance = TIM1;
  htim1.Init.Prescaler = 0;
  htim1.Init.CounterMode = TIM_COUNTERMODE_UP;
  htim1.Init.Period = 199;
  htim1.Init.ClockDivision = TIM_CLOCKDIVISION_DIV1;
  htim1.Init.RepetitionCounter = 0;
  htim1.Init.AutoReloadPreload = TIM_AUTORELOAD_PRELOAD_DISABLE;
  if (HAL_TIM_PWM_Init(&htim1) != HAL_OK)
  {
    Error_Handler();
  }
  sMasterConfig.MasterOutputTrigger = TIM_TRGO_OC1;
  sMasterConfig.MasterOutputTrigger2 = TIM_TRGO2_RESET;
  sMasterConfig.MasterSlaveMode = TIM_MASTERSLAVEMODE_DISABLE;
  if (HAL_TIMEx_MasterConfigSynchronization(&htim1, &sMasterConfig) != HAL_OK)
  {
    Error_Handler();
  }
  sConfigOC.OCMode = TIM_OCMODE_PWM1;
  sConfigOC.Pulse = 0;
  sConfigOC.OCPolarity = TIM_OCPOLARITY_HIGH;
  sConfigOC.OCNPolarity = TIM_OCNPOLARITY_HIGH;
  sConfigOC.OCFastMode = TIM_OCFAST_DISABLE;
  sConfigOC.OCIdleState = TIM_OCIDLESTATE_RESET;
  sConfigOC.OCNIdleState = TIM_OCNIDLESTATE_RESET;
  if (HAL_TIM_PWM_ConfigChannel(&htim1, &sConfigOC, TIM_CHANNEL_1) != HAL_OK)
  {
    Error_Handler();
  }
  sBreakDeadTimeConfig.OffStateRunMode = TIM_OSSR_DISABLE;
  sBreakDeadTimeConfig.OffStateIDLEMode = TIM_OSSI_DISABLE;
  sBreakDeadTimeConfig.LockLevel = TIM_LOCKLEVEL_OFF;
  sBreakDeadTimeConfig.DeadTime = 0;
  sBreakDeadTimeConfig.BreakState = TIM_BREAK_DISABLE;
  sBreakDeadTimeConfig.BreakPolarity = TIM_BREAKPOLARITY_HIGH;
  sBreakDeadTimeConfig.BreakFilter = 0;
  sBreakDeadTimeConfig.Break2State = TIM_BREAK2_DISABLE;
  sBreakDeadTimeConfig.Break2Polarity = TIM_BREAK2POLARITY_HIGH;
  sBreakDeadTimeConfig.Break2Filter = 0;
  sBreakDeadTimeConfig.AutomaticOutput = TIM_AUTOMATICOUTPUT_DISABLE;
  if (HAL_TIMEx_ConfigBreakDeadTime(&htim1, &sBreakDeadTimeConfig) != HAL_OK)
  {
    Error_Handler();
  }
  HAL_TIM_MspPostInit(&htim1);

}

static void MX_TIM3_Init(void)
{

  TIM_ClockConfigTypeDef sClockSourceConfig = {0};
  TIM_MasterConfigTypeDef sMasterConfig = {0};

  htim3.Instance = TIM3;
  htim3.Init.Prescaler = 0;
  htim3.Init.CounterMode = TIM_COUNTERMODE_UP;
  htim3.Init.Period = 500;
  htim3.Init.ClockDivision = TIM_CLOCKDIVISION_DIV1;
  htim3.Init.AutoReloadPreload = TIM_AUTORELOAD_PRELOAD_DISABLE;
  if (HAL_TIM_Base_Init(&htim3) != HAL_OK)
  {
    Error_Handler();
  }
  sClockSourceConfig.ClockSource = TIM_CLOCKSOURCE_INTERNAL;
  if (HAL_TIM_ConfigClockSource(&htim3, &sClockSourceConfig) != HAL_OK)
  {
    Error_Handler();
  }
  sMasterConfig.MasterOutputTrigger = TIM_TRGO_RESET;
  sMasterConfig.MasterSlaveMode = TIM_MASTERSLAVEMODE_DISABLE;
  if (HAL_TIMEx_MasterConfigSynchronization(&htim3, &sMasterConfig) != HAL_OK)
  {
    Error_Handler();
  }

}

static void MX_TIM4_Init(void)
{

  TIM_ClockConfigTypeDef sClockSourceConfig = {0};
  TIM_MasterConfigTypeDef sMasterConfig = {0};

  htim4.Instance = TIM4;
  htim4.Init.Prescaler = 3;
  htim4.Init.CounterMode = TIM_COUNTERMODE_UP;
  htim4.Init.Period = 255;
  htim4.Init.ClockDivision = TIM_CLOCKDIVISION_DIV1;
  htim4.Init.AutoReloadPreload = TIM_AUTORELOAD_PRELOAD_DISABLE;
  if (HAL_TIM_Base_Init(&htim4) != HAL_OK)
  {
    Error_Handler();
  }
  sClockSourceConfig.ClockSource = TIM_CLOCKSOURCE_INTERNAL;
  if (HAL_TIM_ConfigClockSource(&htim4, &sClockSourceConfig) != HAL_OK)
  {
    Error_Handler();
  }
  sMasterConfig.MasterOutputTrigger = TIM_TRGO_RESET;
  sMasterConfig.MasterSlaveMode = TIM_MASTERSLAVEMODE_DISABLE;
  if (HAL_TIMEx_MasterConfigSynchronization(&htim4, &sMasterConfig) != HAL_OK)
  {
    Error_Handler();
  }

}

static void MX_TIM8_Init(void)
{

  TIM_ClockConfigTypeDef sClockSourceConfig = {0};
  TIM_SlaveConfigTypeDef sSlaveConfig = {0};
  TIM_MasterConfigTypeDef sMasterConfig = {0};
  TIM_OC_InitTypeDef sConfigOC = {0};
  TIM_BreakDeadTimeConfigTypeDef sBreakDeadTimeConfig = {0};

  htim8.Instance = TIM8;
  htim8.Init.Prescaler = 0;
  htim8.Init.CounterMode = TIM_COUNTERMODE_UP;
  htim8.Init.Period = 9;
  htim8.Init.ClockDivision = TIM_CLOCKDIVISION_DIV1;
  htim8.Init.RepetitionCounter = 0;
  htim8.Init.AutoReloadPreload = TIM_AUTORELOAD_PRELOAD_DISABLE;
  if (HAL_TIM_Base_Init(&htim8) != HAL_OK)
  {
    Error_Handler();
  }
  sClockSourceConfig.ClockSource = TIM_CLOCKSOURCE_INTERNAL;
  if (HAL_TIM_ConfigClockSource(&htim8, &sClockSourceConfig) != HAL_OK)
  {
    Error_Handler();
  }
  if (HAL_TIM_PWM_Init(&htim8) != HAL_OK)
  {
    Error_Handler();
  }
  sSlaveConfig.SlaveMode = TIM_SLAVEMODE_COMBINED_RESETTRIGGER;
  sSlaveConfig.InputTrigger = TIM_TS_ITR0;
  if (HAL_TIM_SlaveConfigSynchro(&htim8, &sSlaveConfig) != HAL_OK)
  {
    Error_Handler();
  }
  sMasterConfig.MasterOutputTrigger = TIM_TRGO_UPDATE;
  sMasterConfig.MasterOutputTrigger2 = TIM_TRGO2_RESET;
  sMasterConfig.MasterSlaveMode = TIM_MASTERSLAVEMODE_DISABLE;
  if (HAL_TIMEx_MasterConfigSynchronization(&htim8, &sMasterConfig) != HAL_OK)
  {
    Error_Handler();
  }
  sConfigOC.OCMode = TIM_OCMODE_PWM1;
  sConfigOC.Pulse = 0;
  sConfigOC.OCPolarity = TIM_OCPOLARITY_HIGH;
  sConfigOC.OCNPolarity = TIM_OCNPOLARITY_HIGH;
  sConfigOC.OCFastMode = TIM_OCFAST_DISABLE;
  sConfigOC.OCIdleState = TIM_OCIDLESTATE_RESET;
  sConfigOC.OCNIdleState = TIM_OCNIDLESTATE_RESET;
  if (HAL_TIM_PWM_ConfigChannel(&htim8, &sConfigOC, TIM_CHANNEL_1) != HAL_OK)
  {
    Error_Handler();
  }
  sBreakDeadTimeConfig.OffStateRunMode = TIM_OSSR_DISABLE;
  sBreakDeadTimeConfig.OffStateIDLEMode = TIM_OSSI_DISABLE;
  sBreakDeadTimeConfig.LockLevel = TIM_LOCKLEVEL_OFF;
  sBreakDeadTimeConfig.DeadTime = 0;
  sBreakDeadTimeConfig.BreakState = TIM_BREAK_DISABLE;
  sBreakDeadTimeConfig.BreakPolarity = TIM_BREAKPOLARITY_HIGH;
  sBreakDeadTimeConfig.BreakFilter = 0;
  sBreakDeadTimeConfig.Break2State = TIM_BREAK2_DISABLE;
  sBreakDeadTimeConfig.Break2Polarity = TIM_BREAK2POLARITY_HIGH;
  sBreakDeadTimeConfig.Break2Filter = 0;
  sBreakDeadTimeConfig.AutomaticOutput = TIM_AUTOMATICOUTPUT_DISABLE;
  if (HAL_TIMEx_ConfigBreakDeadTime(&htim8, &sBreakDeadTimeConfig) != HAL_OK)
  {
    Error_Handler();
  }
  HAL_TIM_MspPostInit(&htim8);

}

static void MX_TIM16_Init(void)
{

  htim16.Instance = TIM16;
  htim16.Init.Prescaler = 3;
  htim16.Init.CounterMode = TIM_COUNTERMODE_UP;
  htim16.Init.Period = 255;
  htim16.Init.ClockDivision = TIM_CLOCKDIVISION_DIV1;
  htim16.Init.RepetitionCounter = 0;
  htim16.Init.AutoReloadPreload = TIM_AUTORELOAD_PRELOAD_DISABLE;
  if (HAL_TIM_Base_Init(&htim16) != HAL_OK)
  {
    Error_Handler();
  }

}

static void MX_TIM23_Init(void)
{

  TIM_ClockConfigTypeDef sClockSourceConfig = {0};
  TIM_MasterConfigTypeDef sMasterConfig = {0};

  htim23.Instance = TIM23;
  htim23.Init.Prescaler = 3;
  htim23.Init.CounterMode = TIM_COUNTERMODE_UP;
  htim23.Init.Period = 255;
  htim23.Init.ClockDivision = TIM_CLOCKDIVISION_DIV1;
  htim23.Init.AutoReloadPreload = TIM_AUTORELOAD_PRELOAD_DISABLE;
  if (HAL_TIM_Base_Init(&htim23) != HAL_OK)
  {
    Error_Handler();
  }
  sClockSourceConfig.ClockSource = TIM_CLOCKSOURCE_INTERNAL;
  if (HAL_TIM_ConfigClockSource(&htim23, &sClockSourceConfig) != HAL_OK)
  {
    Error_Handler();
  }
  sMasterConfig.MasterOutputTrigger = TIM_TRGO_RESET;
  sMasterConfig.MasterSlaveMode = TIM_MASTERSLAVEMODE_DISABLE;
  if (HAL_TIMEx_MasterConfigSynchronization(&htim23, &sMasterConfig) != HAL_OK)
  {
    Error_Handler();
  }

}

static void MX_USART3_UART_Init(void)
{

  huart3.Instance = USART3;
  huart3.Init.BaudRate = 115200;
  huart3.Init.WordLength = UART_WORDLENGTH_8B;
  huart3.Init.StopBits = UART_STOPBITS_1;
  huart3.Init.Parity = UART_PARITY_NONE;
  huart3.Init.Mode = UART_MODE_TX_RX;
  huart3.Init.HwFlowCtl = UART_HWCONTROL_NONE;
  huart3.Init.OverSampling = UART_OVERSAMPLING_16;
  huart3.Init.OneBitSampling = UART_ONE_BIT_SAMPLE_DISABLE;
  huart3.Init.ClockPrescaler = UART_PRESCALER_DIV1;
  huart3.AdvancedInit.AdvFeatureInit = UART_ADVFEATURE_NO_INIT;
  if (HAL_UART_Init(&huart3) != HAL_OK)
  {
    Error_Handler();
  }
  if (HAL_UARTEx_SetTxFifoThreshold(&huart3, UART_TXFIFO_THRESHOLD_1_8) != HAL_OK)
  {
    Error_Handler();
  }
  if (HAL_UARTEx_SetRxFifoThreshold(&huart3, UART_RXFIFO_THRESHOLD_1_8) != HAL_OK)
  {
    Error_Handler();
  }
  if (HAL_UARTEx_DisableFifoMode(&huart3) != HAL_OK)
  {
    Error_Handler();
  }

}

static void MX_DMA_Init(void)
{

  /* DMA controller clock enable */
  __HAL_RCC_DMA1_CLK_ENABLE();
  __HAL_RCC_DMA2_CLK_ENABLE();

  /* DMA interrupt init */
  /* DMA1_Stream0_IRQn interrupt configuration */
  HAL_NVIC_SetPriority(DMA1_Stream0_IRQn, 0, 0);
  HAL_NVIC_EnableIRQ(DMA1_Stream0_IRQn);
  /* DMA1_Stream1_IRQn interrupt configuration */
  HAL_NVIC_SetPriority(DMA1_Stream1_IRQn, 0, 0);
  HAL_NVIC_EnableIRQ(DMA1_Stream1_IRQn);
  /* DMA2_Stream0_IRQn interrupt configuration */
  HAL_NVIC_SetPriority(DMA2_Stream0_IRQn, 0, 0);
  HAL_NVIC_EnableIRQ(DMA2_Stream0_IRQn);
  /* DMA2_Stream1_IRQn interrupt configuration */
  HAL_NVIC_SetPriority(DMA2_Stream1_IRQn, 0, 0);
  HAL_NVIC_EnableIRQ(DMA2_Stream1_IRQn);

}

static void MX_GPIO_Init(void)
{
  GPIO_InitTypeDef GPIO_InitStruct = {0};

  /* GPIO Ports Clock Enable */
  __HAL_RCC_GPIOF_CLK_ENABLE();
  __HAL_RCC_GPIOC_CLK_ENABLE();
  __HAL_RCC_GPIOA_CLK_ENABLE();
  __HAL_RCC_GPIOB_CLK_ENABLE();
  __HAL_RCC_GPIOE_CLK_ENABLE();
  __HAL_RCC_GPIOD_CLK_ENABLE();
  __HAL_RCC_GPIOG_CLK_ENABLE();

  /*Configure GPIO pin Output Level */
  HAL_GPIO_WritePin(GPIOF, GPIO_PIN_0|GPIO_PIN_1|GPIO_PIN_2|GPIO_PIN_6
                          |GPIO_PIN_12|GPIO_PIN_13, GPIO_PIN_RESET);

  /*Configure GPIO pin Output Level */
  HAL_GPIO_WritePin(GPIOA, GPIO_PIN_0|GPIO_PIN_3|GPIO_PIN_15, GPIO_PIN_RESET);

  /*Configure GPIO pin Output Level */
  HAL_GPIO_WritePin(GPIOE, TX_EN_Pin|RX_EN_REF_Pin|RX_EN_SIG_Pin|ADC_CS_Pin, GPIO_PIN_RESET);

  /*Configure GPIO pin Output Level */
  HAL_GPIO_WritePin(GPIOB, GPIO_PIN_10|GPIO_PIN_11|GPIO_PIN_3, GPIO_PIN_RESET);

  /*Configure GPIO pin Output Level */
  HAL_GPIO_WritePin(GPIOD, PWM1_Pin|PWM2_Pin|GPIO_PIN_14|GPIO_PIN_15, GPIO_PIN_RESET);

  /*Configure GPIO pins : PF0 PF1 PF2 PF6
                           PF12 PF13 */
  GPIO_InitStruct.Pin = GPIO_PIN_0|GPIO_PIN_1|GPIO_PIN_2|GPIO_PIN_6
                          |GPIO_PIN_12|GPIO_PIN_13;
  GPIO_InitStruct.Mode = GPIO_MODE_OUTPUT_PP;
  GPIO_InitStruct.Pull = GPIO_NOPULL;
  GPIO_InitStruct.Speed = GPIO_SPEED_FREQ_VERY_HIGH;
  HAL_GPIO_Init(GPIOF, &GPIO_InitStruct);

  /*Configure GPIO pins : PA0 PA3 */
  GPIO_InitStruct.Pin = GPIO_PIN_0|GPIO_PIN_3;
  GPIO_InitStruct.Mode = GPIO_MODE_OUTPUT_PP;
  GPIO_InitStruct.Pull = GPIO_NOPULL;
  GPIO_InitStruct.Speed = GPIO_SPEED_FREQ_VERY_HIGH;
  HAL_GPIO_Init(GPIOA, &GPIO_InitStruct);

  /*Configure GPIO pins : TX_EN_Pin RX_EN_REF_Pin RX_EN_SIG_Pin ADC_CS_Pin */
  GPIO_InitStruct.Pin = TX_EN_Pin|RX_EN_REF_Pin|RX_EN_SIG_Pin|ADC_CS_Pin;
  GPIO_InitStruct.Mode = GPIO_MODE_OUTPUT_PP;
  GPIO_InitStruct.Pull = GPIO_NOPULL;
  GPIO_InitStruct.Speed = GPIO_SPEED_FREQ_LOW;
  HAL_GPIO_Init(GPIOE, &GPIO_InitStruct);

  /*Configure GPIO pins : PB10 PB11 PB3 */
  GPIO_InitStruct.Pin = GPIO_PIN_10|GPIO_PIN_11|GPIO_PIN_3;
  GPIO_InitStruct.Mode = GPIO_MODE_OUTPUT_PP;
  GPIO_InitStruct.Pull = GPIO_NOPULL;
  GPIO_InitStruct.Speed = GPIO_SPEED_FREQ_VERY_HIGH;
  HAL_GPIO_Init(GPIOB, &GPIO_InitStruct);

  /*Configure GPIO pins : PWM1_Pin PWM2_Pin PD14 PD15 */
  GPIO_InitStruct.Pin = PWM1_Pin|PWM2_Pin|GPIO_PIN_14|GPIO_PIN_15;
  GPIO_InitStruct.Mode = GPIO_MODE_OUTPUT_PP;
  GPIO_InitStruct.Pull = GPIO_NOPULL;
  GPIO_InitStruct.Speed = GPIO_SPEED_FREQ_VERY_HIGH;
  HAL_GPIO_Init(GPIOD, &GPIO_InitStruct);

  /*Configure GPIO pin : PA15 */
  GPIO_InitStruct.Pin = GPIO_PIN_15;
  GPIO_InitStruct.Mode = GPIO_MODE_OUTPUT_PP;
  GPIO_InitStruct.Pull = GPIO_NOPULL;
  GPIO_InitStruct.Speed = GPIO_SPEED_FREQ_LOW;
  HAL_GPIO_Init(GPIOA, &GPIO_InitStruct);

  /*AnalogSwitch Config */
  HAL_SYSCFG_AnalogSwitchConfig(SYSCFG_SWITCH_PA0, SYSCFG_SWITCH_PA0_CLOSE);

}

/* USER CODE BEGIN 4 */
void ADC_handle(){
    if(adc1_first_half_ready && adc2_first_half_ready){
      adc1_first_half_ready = 0;
      adc2_first_half_ready = 0;

      uint8_t a2_first = 0;

      int16_t adc1_shifted[ADC_CONVERTED_DATA_BUFFER_SIZE/2];
      int16_t adc2_shifted[ADC_CONVERTED_DATA_BUFFER_SIZE/2];
      if(!a1_first){
        adc1_shifted[0] = adc1_rx_data[ADC_CONVERTED_DATA_BUFFER_SIZE-1] >> 2;
        adc2_shifted[0] = adc2_rx_data[ADC_CONVERTED_DATA_BUFFER_SIZE-1] >> 2;
        for(int i = 1; i < ADC_CONVERTED_DATA_BUFFER_SIZE/2; i++){
          adc1_shifted[i] = adc1_rx_data[i-1] >> 2;
          adc2_shifted[i] = adc2_rx_data[i-1] >> 2;
        }
      }else{
        adc1_shifted[0] = adc1_rx_data[0] >> 2;
        adc2_shifted[0] = adc2_rx_data[0] >> 2;
        for(int i = 1; i < ADC_CONVERTED_DATA_BUFFER_SIZE/2; i++){
          adc1_shifted[i] = adc1_rx_data[i] >> 2;
          adc2_shifted[i] = adc2_rx_data[i] >> 2;
        }
      }
      const int samples_per_channel = ADC_CONVERTED_DATA_BUFFER_SIZE / 16;
      for(int channel = 0; channel < 16; channel++){
        int src_channel = (channel < 8) ? channel : channel - 8;
        int base_index = channel * samples_per_channel;

        if(channel < 8){
          for(int i = 0; i < samples_per_channel; i++){
            adc_data[base_index + i + 1] = (adc1_shifted[src_channel + (i * 8)]);
          }
        } else {
          for(int i = 0; i < samples_per_channel; i++){
            adc_data[base_index + i + 1] = (adc2_shifted[src_channel + (i * 8)]);
          }
        }
      }
      adc_data[0] = packet_ID;
      udpClient_send((int16_t*)adc_data, ADC_CONVERTED_DATA_BUFFER_SIZE + 1);

    }else if(adc1_second_half_ready && adc2_second_half_ready){
      adc1_second_half_ready = 0;
      adc2_second_half_ready = 0;

      int16_t adc1_shifted[ADC_CONVERTED_DATA_BUFFER_SIZE/2];
      int16_t adc2_shifted[ADC_CONVERTED_DATA_BUFFER_SIZE/2];
      if(!a1_first){
        adc1_shifted[0] = adc1_rx_data[(ADC_CONVERTED_DATA_BUFFER_SIZE/2)-1] >> 2;
        adc2_shifted[0] = adc2_rx_data[(ADC_CONVERTED_DATA_BUFFER_SIZE/2)-1] >> 2;
        for(int i = 1; i < ADC_CONVERTED_DATA_BUFFER_SIZE/2; i++){
          adc1_shifted[i] = adc1_rx_data[((ADC_CONVERTED_DATA_BUFFER_SIZE/2)+i)-1] >> 2;
          adc2_shifted[i] = adc2_rx_data[((ADC_CONVERTED_DATA_BUFFER_SIZE/2)+i)-1] >> 2;
        }
      }else{
        adc1_shifted[0] = adc1_rx_data[ADC_CONVERTED_DATA_BUFFER_SIZE/2] >> 2;
        adc2_shifted[0] = adc2_rx_data[ADC_CONVERTED_DATA_BUFFER_SIZE/2] >> 2;
        for(int i = 1; i < ADC_CONVERTED_DATA_BUFFER_SIZE/2; i++){
          adc1_shifted[i] = adc1_rx_data[((ADC_CONVERTED_DATA_BUFFER_SIZE/2)+i)] >> 2;
          adc2_shifted[i] = adc2_rx_data[((ADC_CONVERTED_DATA_BUFFER_SIZE/2)+i)] >> 2;
        }
      }
      const int samples_per_channel = ADC_CONVERTED_DATA_BUFFER_SIZE / 16;
      for(int channel = 0; channel < 16; channel++){
        int src_channel = (channel < 8) ? channel : channel - 8;
        int base_index = channel * samples_per_channel;

        if(channel < 8){
          for(int i = 0; i < samples_per_channel; i++){
            adc_data[base_index + i + 1] = (adc1_shifted[src_channel + (i * 8)]);
          }
        } else {
          for(int i = 0; i < samples_per_channel; i++){
            adc_data[base_index + i + 1] = (adc2_shifted[src_channel + (i * 8)]);
          }
        }
      }
      adc_data[0] = packet_ID;
      udpClient_send((int16_t*)adc_data, ADC_CONVERTED_DATA_BUFFER_SIZE + 1);
    }
}
/* USER CODE END 4 */

 /* MPU Configuration */

void MPU_Config(void)
{
  MPU_Region_InitTypeDef MPU_InitStruct = {0};

  /* Disables the MPU */
  HAL_MPU_Disable();

  /** Initializes and configures the Region and the memory to be protected
  */
  MPU_InitStruct.Enable = MPU_REGION_ENABLE;
  MPU_InitStruct.Number = MPU_REGION_NUMBER0;
  MPU_InitStruct.BaseAddress = 0x0;
  MPU_InitStruct.Size = MPU_REGION_SIZE_4GB;
  MPU_InitStruct.SubRegionDisable = 0x87;
  MPU_InitStruct.TypeExtField = MPU_TEX_LEVEL0;
  MPU_InitStruct.AccessPermission = MPU_REGION_NO_ACCESS;
  MPU_InitStruct.DisableExec = MPU_INSTRUCTION_ACCESS_DISABLE;
  MPU_InitStruct.IsShareable = MPU_ACCESS_SHAREABLE;
  MPU_InitStruct.IsCacheable = MPU_ACCESS_NOT_CACHEABLE;
  MPU_InitStruct.IsBufferable = MPU_ACCESS_NOT_BUFFERABLE;

  HAL_MPU_ConfigRegion(&MPU_InitStruct);

  /** Initializes and configures the Region and the memory to be protected
  */
  MPU_InitStruct.Number = MPU_REGION_NUMBER1;
  MPU_InitStruct.BaseAddress = 0x30000000;
  MPU_InitStruct.Size = MPU_REGION_SIZE_32KB;
  MPU_InitStruct.SubRegionDisable = 0x0;
  MPU_InitStruct.TypeExtField = MPU_TEX_LEVEL1;
  MPU_InitStruct.AccessPermission = MPU_REGION_FULL_ACCESS;

  HAL_MPU_ConfigRegion(&MPU_InitStruct);
  /* Enables the MPU */
  HAL_MPU_Enable(MPU_PRIVILEGED_DEFAULT);

}

void Error_Handler(void)
{
  __disable_irq();
  while (1)
  {
  }
}
